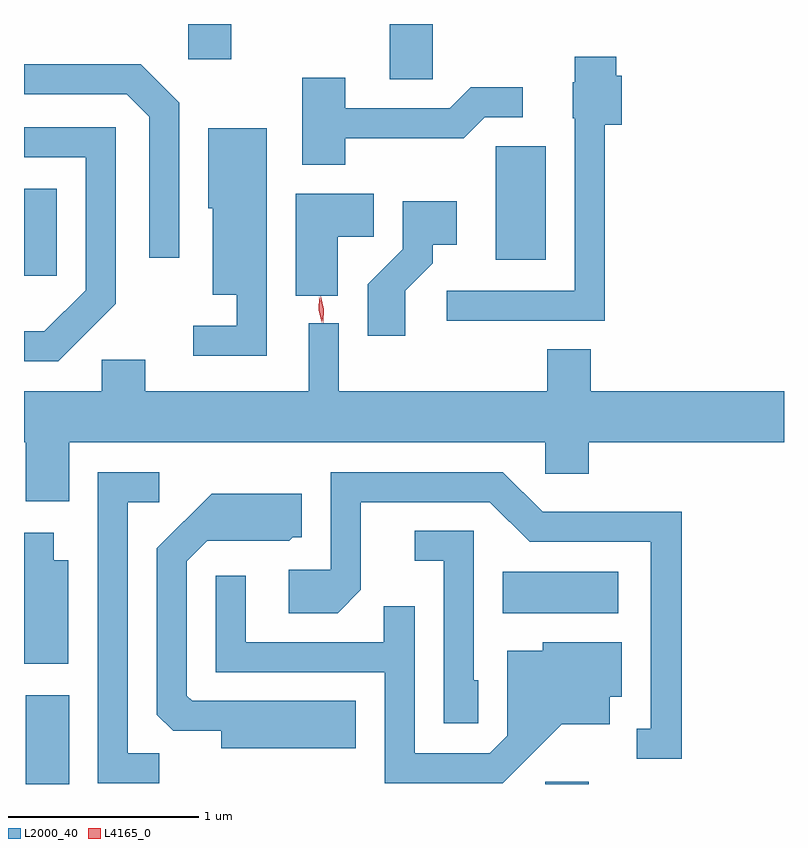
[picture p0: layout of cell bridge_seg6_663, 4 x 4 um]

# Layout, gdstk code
import gdstk
lib = gdstk.Library(unit=1e-6, precision=1e-09)
def R(c, l, rs):  # rectangles x0, y0, x1, y1
    for r in rs: c.add(gdstk.rectangle(r[:2], r[2:], *l))
def P(c, l, *ps):  # polygons
    for p in ps: c.add(gdstk.Polygon(p, *l))
L2000_40 = (2000, 40)
L4165_0 = (4165, 0)

bridge_seg6_663 = lib.new_cell('bridge_seg6_663')
R(bridge_seg6_663, L2000_40, [(268.626,1537.137,268.854,1537.604), (271.361,1537.137,271.589,1537.149), (271.136,1538.036,271.744,1538.254), (268.617,1539.811,268.789,1540.269), (271.101,1539.896,271.364,1540.494), (270.541,1540.846,270.769,1541.137), (269.481,1540.951,269.709,1541.137)])
P(bridge_seg6_663, L2000_40, [(271.674,1540.606),(271.764,1540.606),(271.764,1540.864),(271.734,1540.864),(271.734,1540.964),(271.516,1540.964),(271.516,1540.83),(271.506,1540.83),(271.506,1540.64),(271.516,1540.64),(271.516,1539.734),(270.843,1539.734),(270.843,1539.576),(271.674,1539.576)],
  [(269.434,1540.722),(269.232,1540.924),(268.617,1540.924),(268.617,1540.766),(269.159,1540.766),(269.276,1540.649),(269.276,1539.908),(269.434,1539.908)],
  [(270.309,1540.536),(270.932,1540.536),(271.042,1540.646),(271.243,1540.646),(271.243,1540.804),(270.969,1540.804),(270.859,1540.694),(270.309,1540.694),(270.309,1540.854),(270.081,1540.854),(270.081,1540.396),(270.309,1540.396)],
  [(269.099,1539.664),(269.099,1540.594),(268.617,1540.594),(268.617,1540.436),(268.941,1540.436),(268.941,1539.737),(268.724,1539.519),(268.617,1539.519),(268.617,1539.361),(268.797,1539.361)],
  [(269.894,1540.589),(269.586,1540.589),(269.586,1540.166),(269.611,1540.166),(269.611,1539.711),(269.736,1539.711),(269.736,1539.549),(269.508,1539.549),(269.508,1539.391),(269.894,1539.391)],
  [(270.269,1540.016),(270.459,1540.016),(270.459,1540.244),(270.046,1540.244),(270.046,1539.706),(270.269,1539.706)],
  [(270.624,1539.734),(270.769,1539.879),(270.769,1539.976),(270.894,1539.976),(270.894,1540.204),(270.611,1540.204),(270.611,1539.952),(270.426,1539.767),(270.426,1539.496),(270.624,1539.496)],
  [(268.854,1538.936),(271.361,1538.936),(271.361,1538.771),(271.589,1538.771),(271.589,1538.936),(272.617,1538.936),(272.617,1539.204),(271.599,1539.204),(271.599,1539.424),(271.371,1539.424),(271.371,1539.204),(270.274,1539.204),(270.274,1539.563),(270.116,1539.563),(270.116,1539.204),(269.254,1539.204),(269.254,1539.369),(269.026,1539.369),(269.026,1539.204),(268.617,1539.204),(268.617,1538.936),(268.626,1538.936),(268.626,1538.626),(268.854,1538.626)],
  [(272.079,1538.569),(271.347,1538.569),(271.137,1538.779),(270.231,1538.779),(270.231,1538.264),(270.011,1538.264),(270.011,1538.036),(270.267,1538.036),(270.389,1538.159),(270.389,1538.621),(271.069,1538.621),(271.279,1538.411),(271.916,1538.411),(271.916,1537.429),(271.843,1537.429),(271.843,1537.271),(272.079,1537.271)],
  [(269.328,1537.299),(269.164,1537.299),(269.164,1538.621),(269.328,1538.621),(269.328,1538.779),(269.006,1538.779),(269.006,1537.141),(269.328,1537.141)],
  [(270.364,1537.574),(269.502,1537.574),(269.474,1537.602),(269.474,1538.309),(269.582,1538.416),(270.012,1538.416),(270.032,1538.436),(270.079,1538.436),(270.079,1538.664),(269.604,1538.664),(269.316,1538.377),(269.316,1537.502),(269.402,1537.416),(269.656,1537.416),(269.656,1537.326),(270.364,1537.326)],
  [(271.009,1537.684),(270.984,1537.684),(270.984,1538.469),(270.673,1538.469),(270.673,1538.311),(270.826,1538.311),(270.826,1537.456),(271.009,1537.456)],
  [(268.849,1538.314),(268.774,1538.314),(268.774,1538.459),(268.617,1538.459),(268.617,1537.771),(268.849,1537.771)],
  [(271.447,1537.451),(271.699,1537.451),(271.699,1537.596),(271.764,1537.596),(271.764,1537.884),(271.346,1537.884),(271.346,1537.839),(271.161,1537.839),(271.161,1537.392),(271.069,1537.299),(270.674,1537.299),(270.674,1538.073),(270.511,1538.073),(270.511,1537.884),(269.784,1537.884),(269.784,1538.233),(269.626,1538.233),(269.626,1537.726),(270.516,1537.726),(270.516,1537.141),(271.137,1537.141)])
P(bridge_seg6_663, L4165_0, [(270.183,1539.568),(270.168,1539.633),(270.171,1539.699),(270.171,1539.7),(270.172,1539.699),(270.187,1539.635),(270.184,1539.568),(270.184,1539.568)],
  [(270.192,1539.565),(270.191,1539.566),(270.175,1539.634),(270.178,1539.703),(270.178,1539.704),(270.179,1539.703),(270.195,1539.635),(270.192,1539.566)])

lib.write_gds('bridge_seg6_663.gds')
